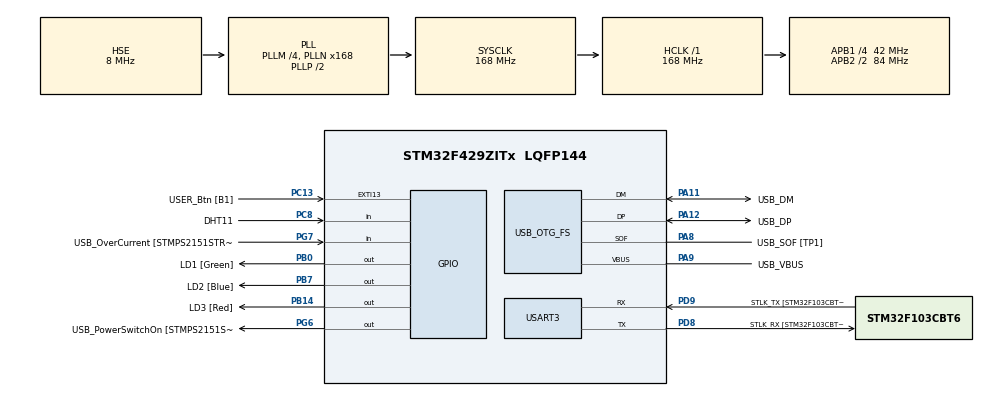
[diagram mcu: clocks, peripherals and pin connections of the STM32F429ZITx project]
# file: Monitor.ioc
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FREERTOS.Tasks01=defaultTask,0,128,StartDefaultTask,Default,NULL,Dynamic,NULL,NULL;myTask02,-3,256,StartTask02,Default,NULL,Dynamic,NULL,NULL;myTask03,-3,256,StartTask03,Default,NULL,Dynamic,NULL,NULL
Mcu.Family=STM32F4
Mcu.Name=STM32F429ZITx
Mcu.Package=LQFP144
NVIC.PriorityGroup=NVIC_PRIORITYGROUP_4
NVIC.TIM6_DAC_IRQn=true\:15\:0\:false\:false\:true\:false\:false\:true\:true
NVIC.TimeBase=TIM6_DAC_IRQn
NVIC.TimeBaseIP=TIM6
NVIC.USART3_IRQn=true\:5\:0\:false\:false\:true\:true\:true\:true\:true
PA1.GPIO_Label=RMII_REF_CLK [LAN8742A-CZ-TR_REFCLK0]
PA1.Signal=ETH_REF_CLK
PA10.GPIO_Label=USB_ID
PA10.Signal=USB_OTG_FS_ID
PA11.GPIO_Label=USB_DM
PA11.Mode=Device_Only
PA11.Signal=USB_OTG_FS_DM
PA12.GPIO_Label=USB_DP
PA12.Mode=Device_Only
PA12.Signal=USB_OTG_FS_DP
PA13.GPIO_Label=TMS
PA13.Mode=Serial_Wire
PA13.Signal=SYS_JTMS-SWDIO
PA14.GPIO_Label=TCK
PA14.Mode=Serial_Wire
PA14.Signal=SYS_JTCK-SWCLK
PA2.GPIO_Label=RMII_MDIO [LAN8742A-CZ-TR_MDIO]
PA2.Signal=ETH_MDIO
PA7.GPIO_Label=RMII_CRS_DV [LAN8742A-CZ-TR_CRS_DV]
PA7.Signal=ETH_CRS_DV
PA8.GPIO_Label=USB_SOF [TP1]
PA8.Mode=Activate_SOF_FS
PA8.Signal=USB_OTG_FS_SOF
PA9.GPIO_Label=USB_VBUS
PA9.Mode=Activate_VBUS
PA9.Signal=USB_OTG_FS_VBUS
PB0.GPIO_Label=LD1 [Green]
PB0.Signal=GPIO_Output
PB13.GPIO_Label=RMII_TXD1 [LAN8742A-CZ-TR_TXD1]
PB13.Signal=ETH_TXD1
PB14.GPIO_Label=LD3 [Red]
PB14.Signal=GPIO_Output
PB7.GPIO_Label=LD2 [Blue]
PB7.Signal=GPIO_Output
PC1.GPIO_Label=RMII_MDC [LAN8742A-CZ-TR_MDC]
PC1.Signal=ETH_MDC
PC13.GPIO_Label=USER_Btn [B1]
PC13.Signal=GPXTI13
PC14/OSC32_IN.Mode=LSE-External-Oscillator
PC14/OSC32_IN.Signal=RCC_OSC32_IN
PC15/OSC32_OUT.Mode=LSE-External-Oscillator
PC15/OSC32_OUT.Signal=RCC_OSC32_OUT
PC4.GPIO_Label=RMII_RXD0 [LAN8742A-CZ-TR_RXD0]
PC4.Signal=ETH_RXD0
PC5.GPIO_Label=RMII_RXD1 [LAN8742A-CZ-TR_RXD1]
PC5.Signal=ETH_RXD1
PC8.GPIO_Label=DHT11
PC8.GPIO_PuPd=GPIO_NOPULL
PC8.Signal=GPIO_Input
PD8.GPIO_Label=STLK_RX [STM32F103CBT6_PA3]
PD8.Mode=Asynchronous
PD8.Signal=USART3_TX
PD9.GPIO_Label=STLK_TX [STM32F103CBT6_PA2]
PD9.Mode=Asynchronous
PD9.Signal=USART3_RX
PG11.GPIO_Label=RMII_TX_EN [LAN8742A-CZ-TR_TXEN]
PG11.Signal=ETH_TX_EN
PG13.GPIO_Label=RMII_TXD0 [LAN8742A-CZ-TR_TXD0]
PG13.Signal=ETH_TXD0
PG6.GPIO_Label=USB_PowerSwitchOn [STMPS2151STR_EN]
PG6.Signal=GPIO_Output
PG7.GPIO_Label=USB_OverCurrent [STMPS2151STR_FAULT]
PG7.Signal=GPIO_Input
PH0/OSC_IN.GPIO_Label=MCO [STM32F103CBT6_PA8]
PH0/OSC_IN.Mode=HSE-External-Clock-Source
PH0/OSC_IN.Signal=RCC_OSC_IN
PH1/OSC_OUT.Mode=HSE-External-Clock-Source
PH1/OSC_OUT.Signal=RCC_OSC_OUT
ProjectManager.HeapSize=0x200
ProjectManager.StackSize=0x400
ProjectManager.TargetToolchain=STM32CubeIDE
RCC.48MHZClocksFreq_Value=48000000
RCC.AHBFreq_Value=168000000
RCC.APB1CLKDivider=RCC_HCLK_DIV4
RCC.APB1Freq_Value=42000000
RCC.APB1TimFreq_Value=84000000
RCC.APB2CLKDivider=RCC_HCLK_DIV2
RCC.APB2Freq_Value=84000000
RCC.APB2TimCLKDivider=2
RCC.APB2TimFreq_Value=168000000
RCC.CortexFreq_Value=168000000
RCC.HCLKFreq_Value=168000000
RCC.HSE_VALUE=8000000
RCC.HSI_VALUE=16000000
RCC.PLLM=4
RCC.PLLMUL=RCC_PLL_MUL9
RCC.PLLN=168
RCC.PLLQ=7
RCC.PRESCALERUSB=RCC_USBCLKSOURCE_PLL_DIV1_5
RCC.RCC_RTC_Clock_Source=RCC_RTCCLKSOURCE_LSE
RCC.RCC_RTC_Clock_SourceVirtual=RCC_RTCCLKSOURCE_LSE
RCC.SYSCLKFreq_VALUE=168000000
RCC.SYSCLKSource=RCC_SYSCLKSOURCE_PLLCLK
RCC.SYSCLKSourceVirtual=RCC_SYSCLKSOURCE_PLLCLK
RCC.USBFreq_Value=48000000
RCC.VCOOutputFreq_Value=336000000
RTC.Alarm=RTC_ALARM_A
RTC.AlarmMaskDateWeekDay=RTC_ALARMMASK_DATEWEEKDAY
USART3.VirtualMode=VM_ASYNC
USB_OTG_FS.VirtualMode=Device_Only
VP_FREERTOS_VS_CMSIS_V1.Mode=CMSIS_V1
VP_RTC_VS_RTC_Activate.Mode=RTC_Enabled
VP_RTC_VS_RTC_Alarm_A_Intern.Mode=Alarm A
VP_RTC_VS_RTC_Calendar.Mode=RTC_Calendar
VP_SYS_VS_tim6.Mode=TIM6
board=NUCLEO-F429ZI

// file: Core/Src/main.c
/* USER CODE BEGIN Header */
/**
  ******************************************************************************
  * @file           : main.c
  * @brief          : Main program body
  ******************************************************************************
  * @attention
  *
  * Copyright (c) 2022 STMicroelectronics.
  * All rights reserved.
  *
  * This software is licensed under terms that can be found in the LICENSE file
  * in the root directory of this software component.
  * If no LICENSE file comes with this software, it is provided AS-IS.
  *
  ******************************************************************************
  */
/* USER CODE END Header */
#include "main.h"
#include "cmsis_os.h"

 RTC_HandleTypeDef hrtc;

UART_HandleTypeDef huart3;

PCD_HandleTypeDef hpcd_USB_OTG_FS;

osThreadId defaultTaskHandle;
osThreadId myTask02Handle;
osThreadId myTask03Handle;

void SystemClock_Config(void);
static void MX_GPIO_Init(void);
static void MX_USART3_UART_Init(void);
static void MX_USB_OTG_FS_PCD_Init(void);
static void MX_RTC_Init(void);
void StartDefaultTask(void const * argument);
void StartTask02(void const * argument);
void StartTask03(void const * argument);

/* USER CODE BEGIN 0 */
unsigned char Receive_Buffer[1] ;
bool RxFlag;
unsigned char RxData = 0;

/* USER CODE END 0 */

int main(void)
{

  /* MCU Configuration--------------------------------------------------------*/

  /* Reset of all peripherals, Initializes the Flash interface and the Systick. */
  HAL_Init();

  /* Configure the system clock */
  SystemClock_Config();

  /* Initialize all configured peripherals */
  MX_GPIO_Init();
  MX_USART3_UART_Init();
  MX_USB_OTG_FS_PCD_Init();
  MX_RTC_Init();
  /* USER CODE BEGIN 2 */
  __HAL_UART_ENABLE_IT(&huart3,UART_IT_RXNE);
  __HAL_UART_ENABLE_IT(&huart3,UART_IT_TC);
  /* USER CODE END 2 */

  /* Create the thread(s) */
  /* definition and creation of defaultTask */
  osThreadDef(defaultTask, StartDefaultTask, osPriorityNormal, 0, 128);
  defaultTaskHandle = osThreadCreate(osThread(defaultTask), NULL);

  /* definition and creation of myTask02 */
  osThreadDef(myTask02, StartTask02, osPriorityIdle, 0, 256);
  myTask02Handle = osThreadCreate(osThread(myTask02), NULL);

  /* definition and creation of myTask03 */
  osThreadDef(myTask03, StartTask03, osPriorityIdle, 0, 256);
  myTask03Handle = osThreadCreate(osThread(myTask03), NULL);

  /* Start scheduler */
  osKernelStart();

  /* We should never get here as control is now taken by the scheduler */
  /* Infinite loop */
  while (1)
  {

  }
}

void SystemClock_Config(void)
{
  RCC_OscInitTypeDef RCC_OscInitStruct = {0};
  RCC_ClkInitTypeDef RCC_ClkInitStruct = {0};

  /** Configure the main internal regulator output voltage
  */
  __HAL_RCC_PWR_CLK_ENABLE();
  __HAL_PWR_VOLTAGESCALING_CONFIG(PWR_REGULATOR_VOLTAGE_SCALE1);

  /** Initializes the RCC Oscillators according to the specified parameters
  * in the RCC_OscInitTypeDef structure.
  */
  RCC_OscInitStruct.OscillatorType = RCC_OSCILLATORTYPE_HSE|RCC_OSCILLATORTYPE_LSE;
  RCC_OscInitStruct.HSEState = RCC_HSE_BYPASS;
  RCC_OscInitStruct.LSEState = RCC_LSE_ON;
  RCC_OscInitStruct.PLL.PLLState = RCC_PLL_ON;
  RCC_OscInitStruct.PLL.PLLSource = RCC_PLLSOURCE_HSE;
  RCC_OscInitStruct.PLL.PLLM = 4;
  RCC_OscInitStruct.PLL.PLLN = 168;
  RCC_OscInitStruct.PLL.PLLP = RCC_PLLP_DIV2;
  RCC_OscInitStruct.PLL.PLLQ = 7;
  if (HAL_RCC_OscConfig(&RCC_OscInitStruct) != HAL_OK)
  {
    Error_Handler();
  }

  /** Initializes the CPU, AHB and APB buses clocks
  */
  RCC_ClkInitStruct.ClockType = RCC_CLOCKTYPE_HCLK|RCC_CLOCKTYPE_SYSCLK
                              |RCC_CLOCKTYPE_PCLK1|RCC_CLOCKTYPE_PCLK2;
  RCC_ClkInitStruct.SYSCLKSource = RCC_SYSCLKSOURCE_PLLCLK;
  RCC_ClkInitStruct.AHBCLKDivider = RCC_SYSCLK_DIV1;
  RCC_ClkInitStruct.APB1CLKDivider = RCC_HCLK_DIV4;
  RCC_ClkInitStruct.APB2CLKDivider = RCC_HCLK_DIV2;

  if (HAL_RCC_ClockConfig(&RCC_ClkInitStruct, FLASH_LATENCY_5) != HAL_OK)
  {
    Error_Handler();
  }
}

static void MX_RTC_Init(void)
{

  RTC_TimeTypeDef sTime = {0};
  RTC_DateTypeDef sDate = {0};
  RTC_AlarmTypeDef sAlarm = {0};

  /** Initialize RTC Only
  */
  hrtc.Instance = RTC;
  hrtc.Init.HourFormat = RTC_HOURFORMAT_24;
  hrtc.Init.AsynchPrediv = 127;
  hrtc.Init.SynchPrediv = 255;
  hrtc.Init.OutPut = RTC_OUTPUT_DISABLE;
  hrtc.Init.OutPutPolarity = RTC_OUTPUT_POLARITY_HIGH;
  hrtc.Init.OutPutType = RTC_OUTPUT_TYPE_OPENDRAIN;
  if (HAL_RTC_Init(&hrtc) != HAL_OK)
  {
    Error_Handler();
  }

  /** Initialize RTC and set the Time and Date
  */
  sTime.Hours = 0x0;
  sTime.Minutes = 0x0;
  sTime.Seconds = 0x0;
  sTime.DayLightSaving = RTC_DAYLIGHTSAVING_NONE;
  sTime.StoreOperation = RTC_STOREOPERATION_RESET;
  if (HAL_RTC_SetTime(&hrtc, &sTime, RTC_FORMAT_BCD) != HAL_OK)
  {
    Error_Handler();
  }
  sDate.WeekDay = RTC_WEEKDAY_MONDAY;
  sDate.Month = RTC_MONTH_JANUARY;
  sDate.Date = 0x1;
  sDate.Year = 0x0;

  if (HAL_RTC_SetDate(&hrtc, &sDate, RTC_FORMAT_BCD) != HAL_OK)
  {
    Error_Handler();
  }

  /** Enable the Alarm A
  */
  sAlarm.AlarmTime.Hours = 0x0;
  sAlarm.AlarmTime.Minutes = 0x0;
  sAlarm.AlarmTime.Seconds = 0x0;
  sAlarm.AlarmTime.SubSeconds = 0x0;
  sAlarm.AlarmTime.DayLightSaving = RTC_DAYLIGHTSAVING_NONE;
  sAlarm.AlarmTime.StoreOperation = RTC_STOREOPERATION_RESET;
  sAlarm.AlarmMask = RTC_ALARMMASK_DATEWEEKDAY;
  sAlarm.AlarmSubSecondMask = RTC_ALARMSUBSECONDMASK_ALL;
  sAlarm.AlarmDateWeekDaySel = RTC_ALARMDATEWEEKDAYSEL_DATE;
  sAlarm.AlarmDateWeekDay = 0x1;
  sAlarm.Alarm = RTC_ALARM_A;
  if (HAL_RTC_SetAlarm(&hrtc, &sAlarm, RTC_FORMAT_BCD) != HAL_OK)
  {
    Error_Handler();
  }

}

static void MX_USART3_UART_Init(void)
{

  huart3.Instance = USART3;
  huart3.Init.BaudRate = 115200;
  huart3.Init.WordLength = UART_WORDLENGTH_8B;
  huart3.Init.StopBits = UART_STOPBITS_1;
  huart3.Init.Parity = UART_PARITY_NONE;
  huart3.Init.Mode = UART_MODE_TX_RX;
  huart3.Init.HwFlowCtl = UART_HWCONTROL_NONE;
  huart3.Init.OverSampling = UART_OVERSAMPLING_16;
  if (HAL_UART_Init(&huart3) != HAL_OK)
  {
    Error_Handler();
  }

}

static void MX_USB_OTG_FS_PCD_Init(void)
{

  hpcd_USB_OTG_FS.Instance = USB_OTG_FS;
  hpcd_USB_OTG_FS.Init.dev_endpoints = 4;
  hpcd_USB_OTG_FS.Init.speed = PCD_SPEED_FULL;
  hpcd_USB_OTG_FS.Init.dma_enable = DISABLE;
  hpcd_USB_OTG_FS.Init.phy_itface = PCD_PHY_EMBEDDED;
  hpcd_USB_OTG_FS.Init.Sof_enable = ENABLE;
  hpcd_USB_OTG_FS.Init.low_power_enable = DISABLE;
  hpcd_USB_OTG_FS.Init.lpm_enable = DISABLE;
  hpcd_USB_OTG_FS.Init.vbus_sensing_enable = ENABLE;
  hpcd_USB_OTG_FS.Init.use_dedicated_ep1 = DISABLE;
  if (HAL_PCD_Init(&hpcd_USB_OTG_FS) != HAL_OK)
  {
    Error_Handler();
  }

}

static void MX_GPIO_Init(void)
{
  GPIO_InitTypeDef GPIO_InitStruct = {0};

  /* GPIO Ports Clock Enable */
  __HAL_RCC_GPIOC_CLK_ENABLE();
  __HAL_RCC_GPIOH_CLK_ENABLE();
  __HAL_RCC_GPIOA_CLK_ENABLE();
  __HAL_RCC_GPIOB_CLK_ENABLE();
  __HAL_RCC_GPIOD_CLK_ENABLE();
  __HAL_RCC_GPIOG_CLK_ENABLE();

  /*Configure GPIO pin Output Level */
  HAL_GPIO_WritePin(GPIOB, LD1_Pin|LD3_Pin|LD2_Pin, GPIO_PIN_RESET);

  /*Configure GPIO pin Output Level */
  HAL_GPIO_WritePin(USB_PowerSwitchOn_GPIO_Port, USB_PowerSwitchOn_Pin, GPIO_PIN_RESET);

  /*Configure GPIO pin : USER_Btn_Pin */
  GPIO_InitStruct.Pin = USER_Btn_Pin;
  GPIO_InitStruct.Mode = GPIO_MODE_IT_RISING;
  GPIO_InitStruct.Pull = GPIO_NOPULL;
  HAL_GPIO_Init(USER_Btn_GPIO_Port, &GPIO_InitStruct);

  /*Configure GPIO pins : RMII_MDC_Pin RMII_RXD0_Pin RMII_RXD1_Pin */
  GPIO_InitStruct.Pin = RMII_MDC_Pin|RMII_RXD0_Pin|RMII_RXD1_Pin;
  GPIO_InitStruct.Mode = GPIO_MODE_AF_PP;
  GPIO_InitStruct.Pull = GPIO_NOPULL;
  GPIO_InitStruct.Speed = GPIO_SPEED_FREQ_VERY_HIGH;
  GPIO_InitStruct.Alternate = GPIO_AF11_ETH;
  HAL_GPIO_Init(GPIOC, &GPIO_InitStruct);

  /*Configure GPIO pins : RMII_REF_CLK_Pin RMII_MDIO_Pin RMII_CRS_DV_Pin */
  GPIO_InitStruct.Pin = RMII_REF_CLK_Pin|RMII_MDIO_Pin|RMII_CRS_DV_Pin;
  GPIO_InitStruct.Mode = GPIO_MODE_AF_PP;
  GPIO_InitStruct.Pull = GPIO_NOPULL;
  GPIO_InitStruct.Speed = GPIO_SPEED_FREQ_VERY_HIGH;
  GPIO_InitStruct.Alternate = GPIO_AF11_ETH;
  HAL_GPIO_Init(GPIOA, &GPIO_InitStruct);

  /*Configure GPIO pins : LD1_Pin LD3_Pin LD2_Pin */
  GPIO_InitStruct.Pin = LD1_Pin|LD3_Pin|LD2_Pin;
  GPIO_InitStruct.Mode = GPIO_MODE_OUTPUT_PP;
  GPIO_InitStruct.Pull = GPIO_NOPULL;
  GPIO_InitStruct.Speed = GPIO_SPEED_FREQ_LOW;
  HAL_GPIO_Init(GPIOB, &GPIO_InitStruct);

  /*Configure GPIO pin : RMII_TXD1_Pin */
  GPIO_InitStruct.Pin = RMII_TXD1_Pin;
  GPIO_InitStruct.Mode = GPIO_MODE_AF_PP;
  GPIO_InitStruct.Pull = GPIO_NOPULL;
  GPIO_InitStruct.Speed = GPIO_SPEED_FREQ_VERY_HIGH;
  GPIO_InitStruct.Alternate = GPIO_AF11_ETH;
  HAL_GPIO_Init(RMII_TXD1_GPIO_Port, &GPIO_InitStruct);

  /*Configure GPIO pin : USB_PowerSwitchOn_Pin */
  GPIO_InitStruct.Pin = USB_PowerSwitchOn_Pin;
  GPIO_InitStruct.Mode = GPIO_MODE_OUTPUT_PP;
  GPIO_InitStruct.Pull = GPIO_NOPULL;
  GPIO_InitStruct.Speed = GPIO_SPEED_FREQ_LOW;
  HAL_GPIO_Init(USB_PowerSwitchOn_GPIO_Port, &GPIO_InitStruct);

  /*Configure GPIO pin : USB_OverCurrent_Pin */
  GPIO_InitStruct.Pin = USB_OverCurrent_Pin;
  GPIO_InitStruct.Mode = GPIO_MODE_INPUT;
  GPIO_InitStruct.Pull = GPIO_NOPULL;
  HAL_GPIO_Init(USB_OverCurrent_GPIO_Port, &GPIO_InitStruct);

  /*Configure GPIO pin : DHT11_Pin */
  GPIO_InitStruct.Pin = DHT11_Pin;
  GPIO_InitStruct.Mode = GPIO_MODE_INPUT;
  GPIO_InitStruct.Pull = GPIO_NOPULL;
  HAL_GPIO_Init(DHT11_GPIO_Port, &GPIO_InitStruct);

  /*Configure GPIO pins : RMII_TX_EN_Pin RMII_TXD0_Pin */
  GPIO_InitStruct.Pin = RMII_TX_EN_Pin|RMII_TXD0_Pin;
  GPIO_InitStruct.Mode = GPIO_MODE_AF_PP;
  GPIO_InitStruct.Pull = GPIO_NOPULL;
  GPIO_InitStruct.Speed = GPIO_SPEED_FREQ_VERY_HIGH;
  GPIO_InitStruct.Alternate = GPIO_AF11_ETH;
  HAL_GPIO_Init(GPIOG, &GPIO_InitStruct);

}

/* USER CODE BEGIN 4 */
void UART_Interrupt_Processing(UART_HandleTypeDef *huart)
{
	if(huart->Instance == huart3.Instance)
	{
		if(HAL_UART_Receive_IT(&huart3, Receive_Buffer, 1)==HAL_OK)
		{
			RxFlag = 1;
			Uart3_EnQueue(Receive_Buffer[0]);
		}
	}
}
/* USER CODE END 4 */

void StartDefaultTask(void const * argument)
{
  for(;;)
  {
    osDelay(1);
  }
}

void StartTask02(void const * argument)
{
  /* USER CODE BEGIN StartTask02 */
  /* Infinite loop */

	printf("\n\rATM Monitor\n\n\r");
	printf("\n\rARM> ");

  for(;;)
  {
	  if(!Uart3_Is_Empty())
	  {
		  RxData = Uart3_DeQueue();
		 // RxData = Uart3_Dequeue();
		  onl_monitor(RxData);
	  }
    osDelay(10);
  }
  /* USER CODE END StartTask02 */
}

void StartTask03(void const * argument)
{
  for(;;)
  {
    osDelay(1);
  }
}

void HAL_TIM_PeriodElapsedCallback(TIM_HandleTypeDef *htim)
{
  if (htim->Instance == TIM6) {
    HAL_IncTick();
  }
}

void Error_Handler(void)
{
  __disable_irq();
  while (1)
  {
  }
}
